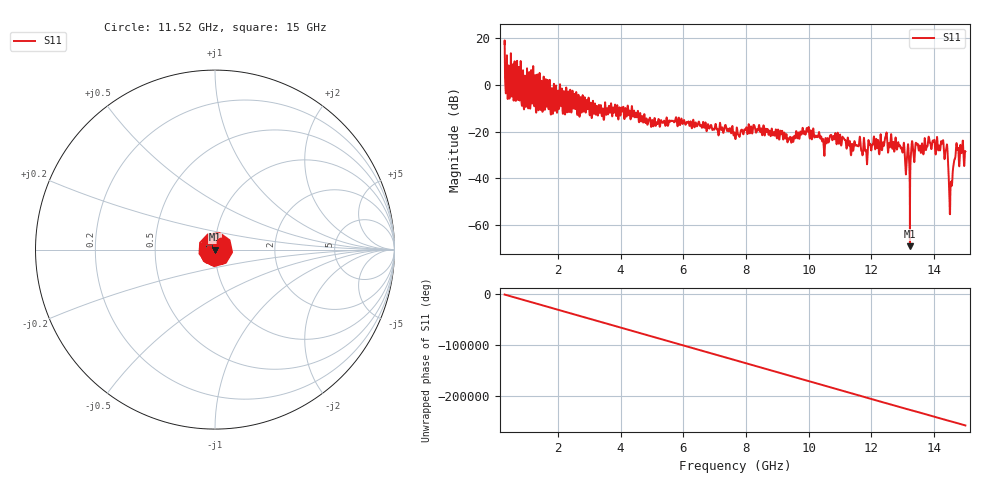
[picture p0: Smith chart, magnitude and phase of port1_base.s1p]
# GHZ S RI R 50.0
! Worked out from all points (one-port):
!   12801 points, 300 MHz to 15 GHz, reference 50 ohm
!   lowest |S11| = -69.0 dB at 13.23 GHz (marker M1), VSWR 1.00, Z = 50 - j0.0319 ohm
!   |S11| at or under -10 dB: 3.381 GHz to 3.494 GHz (113.2 MHz wide, 3.29 % of centre); 4.239 GHz to 4.351 GHz (112.1 MHz wide, 2.61 % of centre); 4.368 GHz to end of sweep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
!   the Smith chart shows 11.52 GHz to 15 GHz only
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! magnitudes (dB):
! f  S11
! 300 MHz  17.5
! 404.5 MHz  -5.4
! 754.8 MHz  7.7
! 915.6 MHz  -10.3
! 1.21 GHz  6.4
! 1.319 GHz  -10.3
! 2.138 GHz  -6.8
! 3.975 GHz  -11.2
! 5.035 GHz  -17.3
! 5.812 GHz  -17.6
! 7.65 GHz  -22.3
! 8.223 GHz  -18.6
! 9.488 GHz  -22.9
! 9.939 GHz  -18.5
! 10.5 GHz  -30.3
! 10.74 GHz  -22.4
! 11.32 GHz  -25.4
! 11.85 GHz  -32.7
! 12.44 GHz  -22.7
! 12.98 GHz  -28.4
! 13.16 GHz  -26.1
! 13.23 GHz  -69.0
! 13.47 GHz  -25.2
! 14.24 GHz  -24.2
! 14.38 GHz  -27.8
! 14.53 GHz  -42.8
! 14.71 GHz  -25.8
! 15 GHz  -28.5
